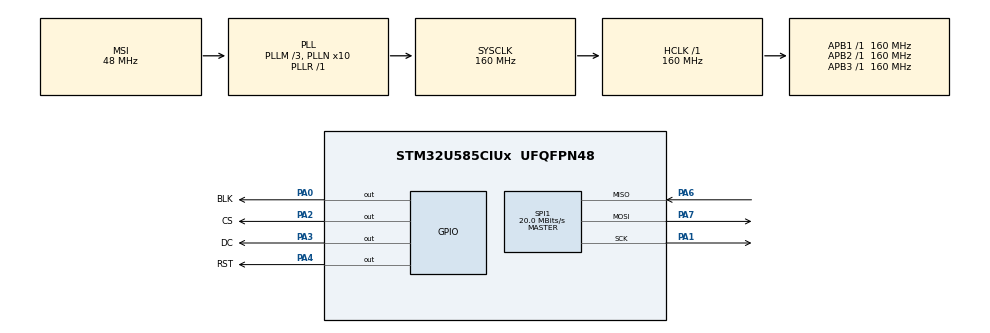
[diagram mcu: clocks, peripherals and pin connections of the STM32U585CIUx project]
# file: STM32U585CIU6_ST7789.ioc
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CORTEX_M33_NS.userName=CORTEX_M33
GPDMA1.DIRECTION_GPDMACH0=DMA_MEMORY_TO_PERIPH
GPDMA1.IPHANDLE_GPDMACH0-SIMPLEREQUEST_GPDMACH0=__NULL
GPDMA1.REQUEST_GPDMACH0=GPDMA1_REQUEST_SPI1_TX
GPDMA1.SRCINC_GPDMACH0=DMA_SINC_INCREMENTED
Mcu.Family=STM32U5
Mcu.Name=STM32U585CIUx
Mcu.Package=UFQFPN48
NVIC.GPDMA1_Channel0_IRQn=true\:0\:0\:false\:false\:true\:false\:true\:true
NVIC.PriorityGroup=NVIC_PRIORITYGROUP_4
NVIC.SPI1_IRQn=true\:0\:0\:false\:false\:true\:false\:true\:true
PA0.GPIO_Label=BLK
PA0.Signal=GPIO_Output
PA1.Mode=Full_Duplex_Master
PA1.Signal=SPI1_SCK
PA2.GPIO_Label=CS
PA2.Signal=GPIO_Output
PA3.GPIO_Label=DC
PA3.Signal=GPIO_Output
PA4.GPIO_Label=RST
PA4.Signal=GPIO_Output
PA6.Mode=Full_Duplex_Master
PA6.Signal=SPI1_MISO
PA7.Mode=Full_Duplex_Master
PA7.Signal=SPI1_MOSI
PC14-OSC32_IN\ (PC14).Mode=LSE-External-Oscillator
PC14-OSC32_IN\ (PC14).Signal=RCC_OSC32_IN
PC15-OSC32_OUT\ (PC15).Mode=LSE-External-Oscillator
PC15-OSC32_OUT\ (PC15).Signal=RCC_OSC32_OUT
PH0-OSC_IN\ (PH0).Mode=HSE-External-Oscillator
PH0-OSC_IN\ (PH0).Signal=RCC_OSC_IN
PH1-OSC_OUT\ (PH1).Mode=HSE-External-Oscillator
PH1-OSC_OUT\ (PH1).Signal=RCC_OSC_OUT
ProjectManager.HeapSize=0x200
ProjectManager.StackSize=0x400
ProjectManager.TargetToolchain=STM32CubeIDE
RCC.ADCFreq_Value=16000000
RCC.AHBFreq_Value=160000000
RCC.APB1Freq_Value=160000000
RCC.APB1TimFreq_Value=160000000
RCC.APB2Freq_Value=160000000
RCC.APB2TimFreq_Value=160000000
RCC.APB3Freq_Value=160000000
RCC.CortexFreq_Value=160000000
RCC.EPOD_VALUE=48000000
RCC.HCLKFreq_Value=160000000
RCC.HSE_VALUE=25000000
RCC.HSI48_VALUE=48000000
RCC.HSI_VALUE=16000000
RCC.LSIDIV_VALUE=32000
RCC.MSIClockRange=RCC_MSIRANGE_0
RCC.MSI_VALUE=48000000
RCC.PLL1R=1
RCC.PLL2FRACN=0
RCC.PLL3FRACN=0
RCC.PLLFRACN=0
RCC.PLLM=3
RCC.PLLN=10
RCC.SYSCLKFreq_VALUE=160000000
RCC.SYSCLKSource=RCC_SYSCLKSOURCE_PLLCLK
RCC.USBFreq_Value=48000000
RCC.VCOOutputFreq_Value=160000000
SPI1.BaudRatePrescaler=SPI_BAUDRATEPRESCALER_8
SPI1.CLKPhase=SPI_PHASE_1EDGE
SPI1.CLKPolarity=SPI_POLARITY_LOW
SPI1.CRCCalculation=SPI_CRCCALCULATION_DISABLE
SPI1.CalculateBaudRate=20.0 MBits/s
SPI1.DataSize=SPI_DATASIZE_8BIT
SPI1.Direction=SPI_DIRECTION_2LINES
SPI1.FifoThreshold=SPI_FIFO_THRESHOLD_01DATA
SPI1.FirstBit=SPI_FIRSTBIT_MSB
SPI1.MasterKeepIOState=SPI_MASTER_KEEP_IO_STATE_DISABLE
SPI1.Mode=SPI_MODE_MASTER
SPI1.VirtualType=VM_MASTER
VP_GPDMA1_VS_GPDMACH0.Mode=SIMPLEREQUEST_GPDMACH0
VP_ICACHE_VS_ICACHE.Mode=DirectMappedCache
VP_LPBAMQUEUE_VS_QUEUE.Mode=QUEUEMODE
VP_LPBAM_VS_SIG1.Mode=SmartRun
VP_LPBAM_VS_SIG4.Mode=LPDMA1
VP_MEMORYMAP_VS_MEMORYMAP.Mode=CurAppReg
VP_PWR_VS_SECSignals.Mode=Security/Privilege
board=custom

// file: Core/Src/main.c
/* USER CODE BEGIN Header */
/**
  ******************************************************************************
  * @file           : main.c
  * @brief          : Main program body
  ******************************************************************************
  * @attention
  *
  * Copyright (c) 2026 STMicroelectronics.
  * All rights reserved.
  *
  * This software is licensed under terms that can be found in the LICENSE file
  * in the root directory of this software component.
  * If no LICENSE file comes with this software, it is provided AS-IS.
  *
  ******************************************************************************
  */
/* USER CODE END Header */
#include "main.h"

/* USER CODE BEGIN Includes */
#include "st7789.h"
#include "spectrogram.h"
#include "math.h"
/* USER CODE END Includes */

SPI_HandleTypeDef hspi1;
DMA_HandleTypeDef handle_GPDMA1_Channel0;

void SystemClock_Config(void);
static void MX_GPIO_Init(void);
static void MX_GPDMA1_Init(void);
static void MX_SPI1_Init(void);
static void MX_ICACHE_Init(void);

int main(void)
{

  /* MCU Configuration--------------------------------------------------------*/

  /* Reset of all peripherals, Initializes the Flash interface and the Systick. */
  HAL_Init();

  /* Configure the system clock */
  SystemClock_Config();

  /* Initialize all configured peripherals */
  MX_GPIO_Init();
  MX_GPDMA1_Init();
  MX_SPI1_Init();
  MX_ICACHE_Init();
  /* USER CODE BEGIN 2 */
  ST7789_Init();
  HAL_Delay(100);
  HAL_GPIO_WritePin(BLK_GPIO_Port, BLK_Pin, 1);
  /* USER CODE END 2 */

  /* Infinite loop */
  /* USER CODE BEGIN WHILE */
#define PI 3.14159265
  uint16_t amplitude = 50;     // altura da onda em pixels
  uint16_t y_offset = 60;     // deslocamento vertical (meio da tela)
  float frequency = 2.0f;      // número de ciclos na tela

  for (uint16_t y2 = 0; y2 < 150; y2 += 10) {
    for (uint16_t x = 0; x < ST7789_WIDTH; x++) {
        // calcular seno: -1 a 1
        float angle = 2.0f * PI * frequency * x / ST7789_WIDTH;
        int16_t y = (int16_t)(amplitude * sinf(angle) + y_offset + y2);

        // plotar pixel
        ST7789_DrawPixel(x, y, WHITE);
        //HAL_Delay(10);
    }
  }
  HAL_Delay(1000);

  while (1)
  {
		//HAL_GPIO_WritePin(TEMPO_GPIO_Port, TEMPO_Pin, 1);
		ST7789_Fill_Color(WHITE);
		ST7789_DrawImage(10, 100, 128, 128, (uint16_t *)saber);
		HAL_Delay(500);
		ST7789_Fill_Color(WHITE);
		ST7789_DrawImage(20, 0, 240, 240, (uint16_t *)knky);
		HAL_Delay(3000);
		ST7789_Fill_Color(WHITE);
		ST7789_Test();

    /* USER CODE END WHILE */

  }
}

void SystemClock_Config(void)
{
  RCC_OscInitTypeDef RCC_OscInitStruct = {0};
  RCC_ClkInitTypeDef RCC_ClkInitStruct = {0};

  /** Configure the main internal regulator output voltage
  */
  if (HAL_PWREx_ControlVoltageScaling(PWR_REGULATOR_VOLTAGE_SCALE1) != HAL_OK)
  {
    Error_Handler();
  }

  /** Initializes the CPU, AHB and APB buses clocks
  */
  RCC_OscInitStruct.OscillatorType = RCC_OSCILLATORTYPE_MSI;
  RCC_OscInitStruct.MSIState = RCC_MSI_ON;
  RCC_OscInitStruct.MSICalibrationValue = RCC_MSICALIBRATION_DEFAULT;
  RCC_OscInitStruct.MSIClockRange = RCC_MSIRANGE_0;
  RCC_OscInitStruct.PLL.PLLState = RCC_PLL_ON;
  RCC_OscInitStruct.PLL.PLLSource = RCC_PLLSOURCE_MSI;
  RCC_OscInitStruct.PLL.PLLMBOOST = RCC_PLLMBOOST_DIV4;
  RCC_OscInitStruct.PLL.PLLM = 3;
  RCC_OscInitStruct.PLL.PLLN = 10;
  RCC_OscInitStruct.PLL.PLLP = 2;
  RCC_OscInitStruct.PLL.PLLQ = 2;
  RCC_OscInitStruct.PLL.PLLR = 1;
  RCC_OscInitStruct.PLL.PLLRGE = RCC_PLLVCIRANGE_1;
  RCC_OscInitStruct.PLL.PLLFRACN = 0;
  if (HAL_RCC_OscConfig(&RCC_OscInitStruct) != HAL_OK)
  {
    Error_Handler();
  }

  /** Initializes the CPU, AHB and APB buses clocks
  */
  RCC_ClkInitStruct.ClockType = RCC_CLOCKTYPE_HCLK|RCC_CLOCKTYPE_SYSCLK
                              |RCC_CLOCKTYPE_PCLK1|RCC_CLOCKTYPE_PCLK2
                              |RCC_CLOCKTYPE_PCLK3;
  RCC_ClkInitStruct.SYSCLKSource = RCC_SYSCLKSOURCE_PLLCLK;
  RCC_ClkInitStruct.AHBCLKDivider = RCC_SYSCLK_DIV1;
  RCC_ClkInitStruct.APB1CLKDivider = RCC_HCLK_DIV1;
  RCC_ClkInitStruct.APB2CLKDivider = RCC_HCLK_DIV1;
  RCC_ClkInitStruct.APB3CLKDivider = RCC_HCLK_DIV1;

  if (HAL_RCC_ClockConfig(&RCC_ClkInitStruct, FLASH_LATENCY_4) != HAL_OK)
  {
    Error_Handler();
  }
}

static void MX_GPDMA1_Init(void)
{

  /* Peripheral clock enable */
  __HAL_RCC_GPDMA1_CLK_ENABLE();

  /* GPDMA1 interrupt Init */
    HAL_NVIC_SetPriority(GPDMA1_Channel0_IRQn, 0, 0);
    HAL_NVIC_EnableIRQ(GPDMA1_Channel0_IRQn);

}

static void MX_ICACHE_Init(void)
{

  /** Enable instruction cache in 1-way (direct mapped cache)
  */
  if (HAL_ICACHE_ConfigAssociativityMode(ICACHE_1WAY) != HAL_OK)
  {
    Error_Handler();
  }
  if (HAL_ICACHE_Enable() != HAL_OK)
  {
    Error_Handler();
  }

}

static void MX_SPI1_Init(void)
{

  SPI_AutonomousModeConfTypeDef HAL_SPI_AutonomousMode_Cfg_Struct = {0};

  /* SPI1 parameter configuration*/
  hspi1.Instance = SPI1;
  hspi1.Init.Mode = SPI_MODE_MASTER;
  hspi1.Init.Direction = SPI_DIRECTION_2LINES;
  hspi1.Init.DataSize = SPI_DATASIZE_8BIT;
  hspi1.Init.CLKPolarity = SPI_POLARITY_LOW;
  hspi1.Init.CLKPhase = SPI_PHASE_1EDGE;
  hspi1.Init.NSS = SPI_NSS_SOFT;
  hspi1.Init.BaudRatePrescaler = SPI_BAUDRATEPRESCALER_8;
  hspi1.Init.FirstBit = SPI_FIRSTBIT_MSB;
  hspi1.Init.TIMode = SPI_TIMODE_DISABLE;
  hspi1.Init.CRCCalculation = SPI_CRCCALCULATION_DISABLE;
  hspi1.Init.CRCPolynomial = 0x7;
  hspi1.Init.NSSPMode = SPI_NSS_PULSE_ENABLE;
  hspi1.Init.NSSPolarity = SPI_NSS_POLARITY_LOW;
  hspi1.Init.FifoThreshold = SPI_FIFO_THRESHOLD_01DATA;
  hspi1.Init.MasterSSIdleness = SPI_MASTER_SS_IDLENESS_00CYCLE;
  hspi1.Init.MasterInterDataIdleness = SPI_MASTER_INTERDATA_IDLENESS_00CYCLE;
  hspi1.Init.MasterReceiverAutoSusp = SPI_MASTER_RX_AUTOSUSP_DISABLE;
  hspi1.Init.MasterKeepIOState = SPI_MASTER_KEEP_IO_STATE_DISABLE;
  hspi1.Init.IOSwap = SPI_IO_SWAP_DISABLE;
  hspi1.Init.ReadyMasterManagement = SPI_RDY_MASTER_MANAGEMENT_INTERNALLY;
  hspi1.Init.ReadyPolarity = SPI_RDY_POLARITY_HIGH;
  if (HAL_SPI_Init(&hspi1) != HAL_OK)
  {
    Error_Handler();
  }
  HAL_SPI_AutonomousMode_Cfg_Struct.TriggerState = SPI_AUTO_MODE_DISABLE;
  HAL_SPI_AutonomousMode_Cfg_Struct.TriggerSelection = SPI_GRP1_GPDMA_CH0_TCF_TRG;
  HAL_SPI_AutonomousMode_Cfg_Struct.TriggerPolarity = SPI_TRIG_POLARITY_RISING;
  if (HAL_SPIEx_SetConfigAutonomousMode(&hspi1, &HAL_SPI_AutonomousMode_Cfg_Struct) != HAL_OK)
  {
    Error_Handler();
  }

}

static void MX_GPIO_Init(void)
{
  GPIO_InitTypeDef GPIO_InitStruct = {0};

  /* GPIO Ports Clock Enable */
  __HAL_RCC_GPIOC_CLK_ENABLE();
  __HAL_RCC_GPIOH_CLK_ENABLE();
  __HAL_RCC_GPIOA_CLK_ENABLE();

  /*Configure GPIO pin Output Level */
  HAL_GPIO_WritePin(GPIOA, BLK_Pin|CS_Pin|DC_Pin|RST_Pin, GPIO_PIN_RESET);

  /*Configure GPIO pins : BLK_Pin CS_Pin DC_Pin RST_Pin */
  GPIO_InitStruct.Pin = BLK_Pin|CS_Pin|DC_Pin|RST_Pin;
  GPIO_InitStruct.Mode = GPIO_MODE_OUTPUT_PP;
  GPIO_InitStruct.Pull = GPIO_NOPULL;
  GPIO_InitStruct.Speed = GPIO_SPEED_FREQ_LOW;
  HAL_GPIO_Init(GPIOA, &GPIO_InitStruct);

}

void Error_Handler(void)
{
  __disable_irq();
  while (1)
  {
  }
}
